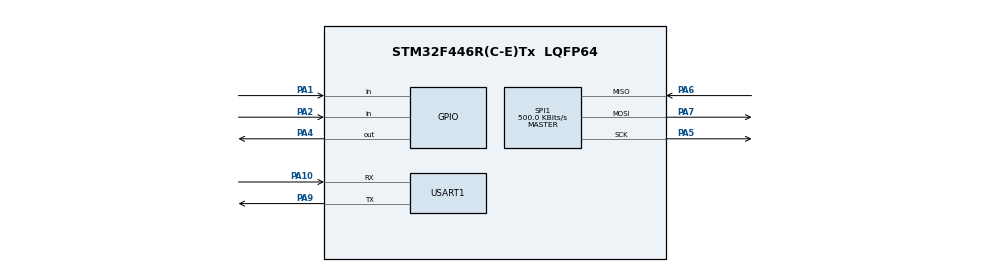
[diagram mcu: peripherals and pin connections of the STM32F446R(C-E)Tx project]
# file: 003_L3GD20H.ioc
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Mcu.Family=STM32F4
Mcu.Name=STM32F446R(C-E)Tx
Mcu.Package=LQFP64
NVIC.PriorityGroup=NVIC_PRIORITYGROUP_4
NVIC.USART1_IRQn=true\:0\:0\:false\:false\:true\:true\:true\:true
PA1.Signal=GPIO_Input
PA10.Mode=Asynchronous
PA10.Signal=USART1_RX
PA2.Signal=GPIO_Input
PA4.Signal=GPIO_Output
PA5.Mode=Full_Duplex_Master
PA5.Signal=SPI1_SCK
PA6.Mode=Full_Duplex_Master
PA6.Signal=SPI1_MISO
PA7.Mode=Full_Duplex_Master
PA7.Signal=SPI1_MOSI
PA9.Mode=Asynchronous
PA9.Signal=USART1_TX
ProjectManager.HeapSize=0x200
ProjectManager.StackSize=0x400
ProjectManager.TargetToolchain=STM32CubeIDE
RCC.CortexFreq_Value=16000000
RCC.USBFreq_Value=96000000
RCC.VCOOutputFreq_Value=192000000
SPI1.BaudRatePrescaler=SPI_BAUDRATEPRESCALER_32
SPI1.CLKPhase=SPI_PHASE_2EDGE
SPI1.CLKPolarity=SPI_POLARITY_HIGH
SPI1.CalculateBaudRate=500.0 KBits/s
SPI1.DataSize=SPI_DATASIZE_8BIT
SPI1.Direction=SPI_DIRECTION_2LINES
SPI1.Mode=SPI_MODE_MASTER
SPI1.VirtualType=VM_MASTER
USART1.VirtualMode=VM_ASYNC
board=custom

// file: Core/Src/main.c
/* USER CODE BEGIN Header */
/**
 ******************************************************************************
 * @file           : main.c
 * @brief          : Main program body
 ******************************************************************************
 * @attention
 *
 * Copyright (c) 2025 STMicroelectronics.
 * All rights reserved.
 *
 * This software is licensed under terms that can be found in the LICENSE file
 * in the root directory of this software component.
 * If no LICENSE file comes with this software, it is provided AS-IS.
 *
 ******************************************************************************
 */
/* USER CODE END Header */
#include "main.h"

/* USER CODE BEGIN Includes */
#include "ringbuffer.h"
#include <string.h>
#include <stdio.h>
#include <stdlib.h>
#include "l3gd20h_reg.h"
/* USER CODE END Includes */

/* USER CODE BEGIN PD */
#define BOOT_TIME 10 // ms
/* USER CODE END PD */

SPI_HandleTypeDef hspi1;

UART_HandleTypeDef huart1;

/* USER CODE BEGIN PV */
static int16_t data_raw_angular_rate[3];
static float_t angular_rate_mdps[3];
static uint8_t whoamI;
static l3gd20h_status_reg_t status;
// static uint8_t rst;
static uint8_t tx_buffer[1000];
RingBuffer txBuf, rxBuf;
/* USER CODE END PV */

void SystemClock_Config(void);
static void MX_GPIO_Init(void);
static void MX_SPI1_Init(void);
static void MX_USART1_UART_Init(void);
/* USER CODE BEGIN PFP */
static int32_t platform_write(void *handle, uint8_t reg, const uint8_t *bufp,
                              uint16_t len);
static int32_t platform_read(void *handle, uint8_t reg, uint8_t *bufp,
                             uint16_t len);
static void tx_com(uint8_t *tx_buffer, uint16_t len);
static void platform_delay(uint32_t ms);
// static void platform_init(void);
void test_spi_communication(void);
uint8_t UART_Transmit(UART_HandleTypeDef *huart, uint8_t *pData, uint16_t len);
void l3gd20h_init(stmdev_ctx_t *dev_ctx);
/* USER CODE END PFP */

int main(void)
{

  /* MCU Configuration--------------------------------------------------------*/

  /* Reset of all peripherals, Initializes the Flash interface and the Systick. */
  HAL_Init();

  /* Configure the system clock */
  SystemClock_Config();

  /* Initialize all configured peripherals */
  MX_GPIO_Init();
  MX_SPI1_Init();
  MX_USART1_UART_Init();
  /* USER CODE BEGIN 2 */
  HAL_NVIC_SetPriority(USART1_IRQn, 0, 0);
  HAL_NVIC_EnableIRQ(USART1_IRQn);

  platform_delay(BOOT_TIME);
  /* Initialize magnetic sensors driver interface */
  stmdev_ctx_t dev_ctx;
  dev_ctx.write_reg = platform_write;
  dev_ctx.read_reg = platform_read;
  dev_ctx.mdelay = platform_delay;
  dev_ctx.handle = &hspi1;

  // test SPI communication
  test_spi_communication();

  // initialization
  l3gd20h_init(&dev_ctx);

  /* check device ID */
  l3gd20h_dev_id_get(&dev_ctx, &whoamI);

  if (whoamI != L3GD20H_ID)
  {
    snprintf((char *)tx_buffer, sizeof(tx_buffer), "WHO_AM_I Error: 0x%02X (expected 0x%02X)\r\n", whoamI, L3GD20H_ID);
    tx_com(tx_buffer, strlen((char *)tx_buffer));
    while (1)
    {
      /* manage here device not found */
    }
  }
  else
  {
    snprintf((char *)tx_buffer, sizeof(tx_buffer), "L3GD20H detected successfully! WHO_AM_I: 0x%02X\r\n", whoamI);
    tx_com(tx_buffer, strlen((char *)tx_buffer));
  }
  /* USER CODE END 2 */

  /* Infinite loop */
  while (1)
  {

    /* USER CODE BEGIN 3 */
    /* Read device status register */
    l3gd20h_dev_status_get(&dev_ctx, &status);

    if (status.zyxda)
    {
      /* Read IMU data */
      memset(data_raw_angular_rate, 0x00, 3 * sizeof(int16_t));

      if (l3gd20h_angular_rate_raw_get(&dev_ctx, data_raw_angular_rate) == 0)
      {
        // convert to milli-degrees per second
        angular_rate_mdps[0] = l3gd20h_from_fs2000_to_mdps(data_raw_angular_rate[0]);
        angular_rate_mdps[1] = l3gd20h_from_fs2000_to_mdps(data_raw_angular_rate[1]);
        angular_rate_mdps[2] = l3gd20h_from_fs2000_to_mdps(data_raw_angular_rate[2]);

        // print both raw and converted values for debugging
        snprintf((char *)tx_buffer, sizeof(tx_buffer),
                 "Raw: X=%d Y=%d Z=%d | mdps: X=%.2f Y=%.2f Z=%.2f\r\n",
                 data_raw_angular_rate[0], data_raw_angular_rate[1], data_raw_angular_rate[2],
                 angular_rate_mdps[0], angular_rate_mdps[1], angular_rate_mdps[2]);
        tx_com(tx_buffer, strlen((char *)tx_buffer));
      }
      else
      {
        snprintf((char *)tx_buffer, sizeof(tx_buffer), "Failed to read angular rate data\r\n");
        tx_com(tx_buffer, strlen((char *)tx_buffer));
      }
    }
    else
    {
      // print status for debugging
      static uint32_t no_data_counter = 0;
      no_data_counter++;
      if (no_data_counter % 1000000 == 0)
      {
        snprintf((char *)tx_buffer, sizeof(tx_buffer), "No new data available. Status: 0x%02X\r\n",
                 *(uint8_t *)&status);
        tx_com(tx_buffer, strlen((char *)tx_buffer));
      }
    }

    HAL_Delay(1000);
  }
  /* USER CODE END 3 */
}

void SystemClock_Config(void)
{
  RCC_OscInitTypeDef RCC_OscInitStruct = {0};
  RCC_ClkInitTypeDef RCC_ClkInitStruct = {0};

  /** Configure the main internal regulator output voltage
   */
  __HAL_RCC_PWR_CLK_ENABLE();
  __HAL_PWR_VOLTAGESCALING_CONFIG(PWR_REGULATOR_VOLTAGE_SCALE3);

  /** Initializes the RCC Oscillators according to the specified parameters
   * in the RCC_OscInitTypeDef structure.
   */
  RCC_OscInitStruct.OscillatorType = RCC_OSCILLATORTYPE_HSI;
  RCC_OscInitStruct.HSIState = RCC_HSI_ON;
  RCC_OscInitStruct.HSICalibrationValue = RCC_HSICALIBRATION_DEFAULT;
  RCC_OscInitStruct.PLL.PLLState = RCC_PLL_NONE;
  if (HAL_RCC_OscConfig(&RCC_OscInitStruct) != HAL_OK)
  {
    Error_Handler();
  }

  /** Initializes the CPU, AHB and APB buses clocks
   */
  RCC_ClkInitStruct.ClockType = RCC_CLOCKTYPE_HCLK | RCC_CLOCKTYPE_SYSCLK | RCC_CLOCKTYPE_PCLK1 | RCC_CLOCKTYPE_PCLK2;
  RCC_ClkInitStruct.SYSCLKSource = RCC_SYSCLKSOURCE_HSI;
  RCC_ClkInitStruct.AHBCLKDivider = RCC_SYSCLK_DIV1;
  RCC_ClkInitStruct.APB1CLKDivider = RCC_HCLK_DIV1;
  RCC_ClkInitStruct.APB2CLKDivider = RCC_HCLK_DIV1;

  if (HAL_RCC_ClockConfig(&RCC_ClkInitStruct, FLASH_LATENCY_0) != HAL_OK)
  {
    Error_Handler();
  }
}

static void MX_SPI1_Init(void)
{

  /* SPI1 parameter configuration*/
  hspi1.Instance = SPI1;
  hspi1.Init.Mode = SPI_MODE_MASTER;
  hspi1.Init.Direction = SPI_DIRECTION_2LINES;
  hspi1.Init.DataSize = SPI_DATASIZE_8BIT;
  hspi1.Init.CLKPolarity = SPI_POLARITY_HIGH;
  hspi1.Init.CLKPhase = SPI_PHASE_2EDGE;
  hspi1.Init.NSS = SPI_NSS_SOFT;
  hspi1.Init.BaudRatePrescaler = SPI_BAUDRATEPRESCALER_32;
  hspi1.Init.FirstBit = SPI_FIRSTBIT_MSB;
  hspi1.Init.TIMode = SPI_TIMODE_DISABLE;
  hspi1.Init.CRCCalculation = SPI_CRCCALCULATION_DISABLE;
  hspi1.Init.CRCPolynomial = 10;
  if (HAL_SPI_Init(&hspi1) != HAL_OK)
  {
    Error_Handler();
  }
}

static void MX_USART1_UART_Init(void)
{

  huart1.Instance = USART1;
  huart1.Init.BaudRate = 115200;
  huart1.Init.WordLength = UART_WORDLENGTH_8B;
  huart1.Init.StopBits = UART_STOPBITS_1;
  huart1.Init.Parity = UART_PARITY_NONE;
  huart1.Init.Mode = UART_MODE_TX_RX;
  huart1.Init.HwFlowCtl = UART_HWCONTROL_NONE;
  huart1.Init.OverSampling = UART_OVERSAMPLING_16;
  if (HAL_UART_Init(&huart1) != HAL_OK)
  {
    Error_Handler();
  }
}

static void MX_GPIO_Init(void)
{
  GPIO_InitTypeDef GPIO_InitStruct = {0};

  /* GPIO Ports Clock Enable */
  __HAL_RCC_GPIOA_CLK_ENABLE();

  /*Configure GPIO pin Output Level */
  HAL_GPIO_WritePin(GPIOA, GPIO_PIN_4, GPIO_PIN_RESET);

  /*Configure GPIO pins : PA1 PA2 */
  GPIO_InitStruct.Pin = GPIO_PIN_1 | GPIO_PIN_2;
  GPIO_InitStruct.Mode = GPIO_MODE_INPUT;
  GPIO_InitStruct.Pull = GPIO_NOPULL;
  HAL_GPIO_Init(GPIOA, &GPIO_InitStruct);

  /*Configure GPIO pin : PA4 */
  GPIO_InitStruct.Pin = GPIO_PIN_4;
  GPIO_InitStruct.Mode = GPIO_MODE_OUTPUT_PP;
  GPIO_InitStruct.Pull = GPIO_NOPULL;
  GPIO_InitStruct.Speed = GPIO_SPEED_FREQ_LOW;
  HAL_GPIO_Init(GPIOA, &GPIO_InitStruct);

}

/* USER CODE BEGIN 4 */
static int32_t platform_write(void *handle, uint8_t reg, const uint8_t *bufp, uint16_t len)
{
  // for L3GD20H, we need to clear the MSB for write operations
  uint8_t write_reg = reg & 0x7F;

  HAL_GPIO_WritePin(GPIOA, GPIO_PIN_4, GPIO_PIN_RESET);
  HAL_Delay(1);

  // send register address
  if (HAL_SPI_Transmit((SPI_HandleTypeDef *)handle, &write_reg, 1, 1000) != HAL_OK)
  {
    HAL_GPIO_WritePin(GPIOA, GPIO_PIN_4, GPIO_PIN_SET);
    return -1;
  }

  // send data
  if (HAL_SPI_Transmit((SPI_HandleTypeDef *)handle, (uint8_t *)bufp, len, 1000) != HAL_OK)
  {
    HAL_GPIO_WritePin(GPIOA, GPIO_PIN_4, GPIO_PIN_SET);
    return -1;
  }

  HAL_Delay(1);
  HAL_GPIO_WritePin(GPIOA, GPIO_PIN_4, GPIO_PIN_SET);
  return 0;
}

static int32_t platform_read(void *handle, uint8_t reg, uint8_t *bufp, uint16_t len)
{
  // for L3GD20H, set MSB for read operations, and if reading multiple bytes, set bit 6 for auto-increment
  uint8_t read_reg = reg | 0x80;
  if (len > 1)
  {
    // auto-increment for multi-byte reads
    read_reg |= 0x40;
  }

  HAL_GPIO_WritePin(GPIOA, GPIO_PIN_4, GPIO_PIN_RESET);
  HAL_Delay(1);

  // send register address with read bit set
  if (HAL_SPI_Transmit((SPI_HandleTypeDef *)handle, &read_reg, 1, 1000) != HAL_OK)
  {
    HAL_GPIO_WritePin(GPIOA, GPIO_PIN_4, GPIO_PIN_SET);
    return -1;
  }

  // read data
  if (HAL_SPI_Receive((SPI_HandleTypeDef *)handle, bufp, len, 1000) != HAL_OK)
  {
    HAL_GPIO_WritePin(GPIOA, GPIO_PIN_4, GPIO_PIN_SET);
    return -1;
  }

  HAL_Delay(1);
  HAL_GPIO_WritePin(GPIOA, GPIO_PIN_4, GPIO_PIN_SET);
  return 0;
}

static void tx_com(uint8_t *tx_buffer, uint16_t len)
{
  //	HAL_UART_Transmit(&huart1, tx_buffer, len, 1000);
  UART_Transmit(&huart1, tx_buffer, len);
}

static void platform_delay(uint32_t ms)
{
  HAL_Delay(ms);
}

// static void platform_init(void)
//{
//
// }

void HAL_UART_TxCpltCallback(UART_HandleTypeDef *huart)
{
  if (huart->Instance == USART1)
  {
    uint8_t data[100];
    uint16_t len = RingBuffer_Read(&txBuf, data, sizeof(data));
    if (len > 0)
    {
      HAL_UART_Transmit_IT(huart, data, len);
    }
  }
}

uint8_t UART_Transmit(UART_HandleTypeDef *huart, uint8_t *pData, uint16_t len)
{
  if (huart->gState == HAL_UART_STATE_READY)
  {
    if (HAL_UART_Transmit_IT(huart, pData, len) == HAL_OK)
    {
      return 1;
    }
  }

  // If UART is busy, store in ring buffer
  if (RingBuffer_Write(&txBuf, pData, len) == RING_BUFFER_OK)
  {
    return 1;
  }

  return 0;
}

void test_spi_communication(void)
{
  uint8_t received_data = 0;

  snprintf((char *)tx_buffer, sizeof(tx_buffer), "Testing SPI communication...\r\n");
  UART_Transmit(&huart1, (uint8_t *)tx_buffer, strlen((char *)tx_buffer));

  // Read WHO_AM_I register directly
  if (platform_read(&hspi1, L3GD20H_WHO_AM_I, &received_data, 1) == 0)
  {
    snprintf((char *)tx_buffer, sizeof(tx_buffer), "Manual test - WHO_AM_I: 0x%02X\r\n", received_data);
  }
  else
  {
    snprintf((char *)tx_buffer, sizeof(tx_buffer), "Manual test - SPI communication failed\r\n");
  }
  UART_Transmit(&huart1, (uint8_t *)tx_buffer, strlen((char *)tx_buffer));
}

void l3gd20h_init(stmdev_ctx_t *dev_ctx)
{
  uint8_t rst;

  // 1. Disable I2C interface to ensure SPI mode
  l3gd20h_i2c_interface_set(dev_ctx, L3GD20H_I2C_DISABLE);
  platform_delay(10);

  // 2. Software reset
  l3gd20h_dev_reset_set(dev_ctx, PROPERTY_ENABLE);
  do
  {
    l3gd20h_dev_reset_get(dev_ctx, &rst);
    platform_delay(1);
  } while (rst);

  platform_delay(50);

  // 3. Enable Block Data Update
  l3gd20h_block_data_update_set(dev_ctx, PROPERTY_ENABLE);

  // 4. Set full scale
  l3gd20h_gy_full_scale_set(dev_ctx, L3GD20H_2000dps);

  // 5. Set Output Data Rate
  l3gd20h_gy_data_rate_set(dev_ctx, L3GD20H_100Hz);

  // 6. Enable all axis
  l3gd20h_gy_axis_t axis_enable = {0};
  axis_enable.xen = PROPERTY_ENABLE;
  axis_enable.yen = PROPERTY_ENABLE;
  axis_enable.zen = PROPERTY_ENABLE;
  l3gd20h_gy_axis_set(dev_ctx, axis_enable);

  platform_delay(100);
}
/* USER CODE END 4 */

void Error_Handler(void)
{
  __disable_irq();
  while (1)
  {
  }
}
